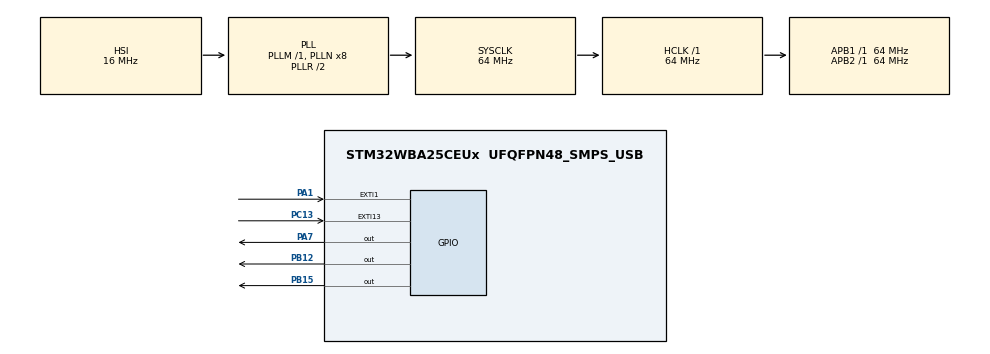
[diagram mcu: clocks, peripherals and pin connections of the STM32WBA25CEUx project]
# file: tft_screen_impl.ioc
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ADC4.Channel-0\#ChannelRegularConversion=ADC_CHANNEL_TEMPSENSOR
ADC4.NbrOfConversionFlag=1
ADC4.Rank-0\#ChannelRegularConversion=1
ADC4.SamplingTime-0\#ChannelRegularConversion=ADC_SAMPLINGTIME_COMMON_1
ADC4.SelectedChannel=ADC_CHANNEL_TEMPSENSOR|ADC_CHANNEL_VREFINT
CORTEX_M33_NS.userName=CORTEX_M33
Mcu.Family=STM32WBA
Mcu.Name=STM32WBA25CEUx
Mcu.Package=UFQFPN48_SMPS_USB
NUCLEO-WBA25CE1.BUTTON=1
NUCLEO-WBA25CE1.BUTTON2=1
NUCLEO-WBA25CE1.BUTTON3=1
NUCLEO-WBA25CE1.LD1=true
NUCLEO-WBA25CE1.LD2=true
NUCLEO-WBA25CE1.LD3=true
NUCLEO-WBA25CE1.VCP=true
NVIC.EXTI13_IRQn=true\:0\:0\:false\:false\:true\:false\:true\:true
NVIC.EXTI1_IRQn=true\:0\:0\:false\:false\:true\:false\:true\:true
NVIC.EXTI2_IRQn=true\:0\:0\:false\:false\:true\:false\:true\:true
NVIC.PriorityGroup=NVIC_PRIORITYGROUP_4
OSC_IN.Signal=RCC_OSC_IN
OSC_OUT.Signal=RCC_OSC_OUT
PA1.Signal=GPXTI1
PA10.GPIO_Speed=GPIO_SPEED_FREQ_HIGH
PA10.Signal=SPI3_MISO
PA11.GPIO_Pu=GPIO_PULLUP
PA11.GPIO_Speed=GPIO_SPEED_FREQ_HIGH
PA11.Signal=I2C3_SDA
PA12.Signal=USART1_RX
PA13\ (JTMS/SWDIO).GPIO_Label=SWDIO
PA13\ (JTMS/SWDIO).Signal=DEBUG_JTMS-SWDIO
PA14\ (JTCK/SWCLK).GPIO_Label=SWCLK
PA14\ (JTCK/SWCLK).Signal=DEBUG_JTCK-SWCLK
PA15\ (JTDI).GPIO_Label=QSPI_CLK
PA15\ (JTDI).Signal=XSPI1_CLK
PA2.Signal=XSPI1_NCS
PA5.GPIO_Speed=GPIO_SPEED_FREQ_HIGH
PA5.Signal=SPI3_NSS
PA6.Signal=USART1_TX
PA7.Signal=GPIO_Output
PA8.GPIO_Speed=GPIO_SPEED_FREQ_HIGH
PA8.Signal=SPI3_SCK
PA9.GPIO_Speed=GPIO_SPEED_FREQ_HIGH
PA9.Signal=SPI3_MOSI
PB12.Signal=GPIO_Output
PB15.Signal=GPIO_Output
PB2.GPIO_Pu=GPIO_PULLUP
PB2.GPIO_Speed=GPIO_SPEED_FREQ_HIGH
PB2.Signal=I2C3_SCL
PB3\ (JTDO/TRACESWO).GPIO_Label=QSPI_D0
PB3\ (JTDO/TRACESWO).Signal=XSPI1_IO0
PB4\ (NJTRST).GPIO_Label=QSPI_D1
PB4\ (NJTRST).Signal=XSPI1_IO1
PB5.GPIO_Label=QSPI_D2
PB5.Signal=XSPI1_IO2
PB6.GPIO_Label=QSPI_D3
PB6.Signal=XSPI1_IO3
PB8.Signal=USB_DP
PB9.Signal=USB_DM
PC13.Signal=GPXTI13
PC14-OSC32_IN.Signal=RCC_OSC32_IN
PC15-OSC32_OUT.Signal=RCC_OSC32_OUT
ProjectManager.HeapSize=0x200
ProjectManager.StackSize=0x2000
ProjectManager.TargetToolchain=STM32CubeIDE
RCC.ADCFreq_Value=64000000
RCC.AHB5CLKDivider=DIV2
RCC.AHBFreq_Value=64000000
RCC.APB1Freq_Value=64000000
RCC.APB1TimFreq_Value=64000000
RCC.APB2Freq_Value=64000000
RCC.APB2TimFreq_Value=64000000
RCC.CortexFreq_Value=8000000
RCC.HCLKFreq_Value=64000000
RCC.HSE_VALUE=16000000
RCC.HSI_VALUE=16000000
RCC.LSE_VALUE=32768
RCC.PLLFRACN=0
RCC.PLLN=8
RCC.SYSCLKFreq_VALUE=64000000
RCC.SYSCLKSourceVirtual=RCC_SYSCLKSOURCE_PLLCLK
RCC.VCOOutputFreq_Value=128000000
VP_ADC4_TempSens_Input.Mode=IN-TempSens
VP_ADC4_Vref_Input.Mode=IN-Vrefint
VP_CORTEX_M33_NS_VS_Hclk.Mode=Hclk_Mode
VP_ICACHE_VS_ICACHE.Mode=DirectMappedCache
VP_NUCLEO-WBA25CE1_VS_BSP_COMMON.Mode=COMMON
VP_PWR_VS_SECSignals.Mode=Security/Privilege
board=NUCLEO-WBA25CE1

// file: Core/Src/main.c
/* USER CODE BEGIN Header */
/**
  ******************************************************************************
  * @file           : main.c
  * @brief          : Main program body
  ******************************************************************************
  * @attention
  *
  * Copyright (c) 2026 STMicroelectronics.
  * All rights reserved.
  *
  * This software is licensed under terms that can be found in the LICENSE file
  * in the root directory of this software component.
  * If no LICENSE file comes with this software, it is provided AS-IS.
  *
  ******************************************************************************
  */
/* USER CODE END Header */
#include "main.h"

/* USER CODE BEGIN Includes */
#include "pin_finder.h"
#include "tft.h"
#include "lvgl.h"
#include "lvgl_port.h"
#include "input_port.h"
#include "sensors.h"
#include "ui.h"

/* USER CODE END Includes */

/* USER CODE BEGIN PD */
/* What the program runs:
 *   APP_PIN_FINDER  - find STM32 pins on the headers (shield removed)
 *   APP_COLOR_TEST  - simple colour fills with our own driver
 *   APP_LVGL        - LVGL user interface */
#define APP_PIN_FINDER  0
#define APP_COLOR_TEST  1
#define APP_LVGL        2
#define APP_MODE        APP_LVGL

/* USER CODE END PD */

COM_InitTypeDef BspCOMInit;
ADC_HandleTypeDef hadc4;

void SystemClock_Config(void);
static void MX_GPIO_Init(void);
static void MX_ADC4_Init(void);
static void MX_ICACHE_Init(void);

int main(void)
{

  /* MCU Configuration--------------------------------------------------------*/

  /* Reset of all peripherals, Initializes the Flash interface and the Systick. */
  HAL_Init();

  /* Configure the system clock */
  SystemClock_Config();

  /* Initialize all configured peripherals */
  MX_GPIO_Init();
  MX_ADC4_Init();
  MX_ICACHE_Init();

  /* Initialize leds */
  BSP_LED_Init(LED_BLUE);
  BSP_LED_Init(LED_GREEN);
  BSP_LED_Init(LED_RED);

  /* Initialize USER push-button, will be used to trigger an interrupt each time it's pressed.*/
  BSP_PB_Init(B1, BUTTON_MODE_EXTI);
  BSP_PB_Init(B2, BUTTON_MODE_EXTI);
  BSP_PB_Init(B3, BUTTON_MODE_EXTI);

  /* Initialize COM1 port (115200, 8 bits (7-bit data + 1 stop bit), no parity */
  BspCOMInit.BaudRate   = 115200;
  BspCOMInit.WordLength = COM_WORDLENGTH_8B;
  BspCOMInit.StopBits   = COM_STOPBITS_1;
  BspCOMInit.Parity     = COM_PARITY_NONE;
  BspCOMInit.HwFlowCtl  = COM_HWCONTROL_NONE;
  if (BSP_COM_Init(COM1, &BspCOMInit) != BSP_ERROR_NONE)
  {
    Error_Handler();
  }

  /* Infinite loop */
  /* USER CODE BEGIN WHILE */
#if APP_MODE == APP_PIN_FINDER
  finder_init();
#elif APP_MODE == APP_COLOR_TEST
  tft_init();
#else
  tft_init();
  lvgl_port_init();
  input_port_init();        /* button B1 -> LVGL */
  sensors_init();           /* ADC4: chip temperature + supply voltage, 1 s */
  ui_create();
#endif
  while (1)
  {

    /* USER CODE END WHILE */

    /* USER CODE BEGIN 3 */
#if APP_MODE == APP_PIN_FINDER
    finder_poll();
#elif APP_MODE == APP_LVGL
    lv_timer_handler();      /* LVGL: redraw what changed, run timers/animations */
    HAL_Delay(5);
#else
    tft_fill_screen(RED);   HAL_Delay(500);
    tft_fill_screen(GREEN); HAL_Delay(500);
    tft_fill_screen(BLUE);  HAL_Delay(500);
    tft_fill_screen(BLACK);
    tft_fill_rect(20, 20, 100, 60, YELLOW);
    tft_fill_rect(60, 120, 120, 120, CYAN);
    tft_fill_rect(0, 280, 240, 40, WHITE);
    HAL_Delay(2000);
#endif
  }
  /* USER CODE END 3 */
}

void SystemClock_Config(void)
{
  RCC_OscInitTypeDef RCC_OscInitStruct = {0};
  RCC_ClkInitTypeDef RCC_ClkInitStruct = {0};

  /** Supply configuration update enable
  */
  HAL_PWREx_ConfigSupply(PWR_LDO_SUPPLY);

  /** Configure the main internal regulator output voltage
  */
  if (HAL_PWREx_ControlVoltageScaling(PWR_REGULATOR_VOLTAGE_SCALE1) != HAL_OK)
  {
    Error_Handler();
  }

  /** Initializes the CPU, AHB and APB busses clocks
  */
  RCC_OscInitStruct.OscillatorType = RCC_OSCILLATORTYPE_HSI;
  RCC_OscInitStruct.HSIState = RCC_HSI_ON;
  RCC_OscInitStruct.HSICalibrationValue = RCC_HSICALIBRATION_DEFAULT;
  RCC_OscInitStruct.PLL1.PLLState = RCC_PLL_ON;
  RCC_OscInitStruct.PLL1.PLLSource = RCC_PLLSOURCE_HSI;
  RCC_OscInitStruct.PLL1.PLLM = 1;
  RCC_OscInitStruct.PLL1.PLLN = 8;
  RCC_OscInitStruct.PLL1.PLLP = 2;
  RCC_OscInitStruct.PLL1.PLLQ = 2;
  RCC_OscInitStruct.PLL1.PLLR = 2;
  RCC_OscInitStruct.PLL1.PLLFractional = 0;
  if (HAL_RCC_OscConfig(&RCC_OscInitStruct) != HAL_OK)
  {
    Error_Handler();
  }

  /** Initializes the CPU, AHB and APB busses clocks
  */
  RCC_ClkInitStruct.ClockType = RCC_CLOCKTYPE_HCLK|RCC_CLOCKTYPE_SYSCLK
                              |RCC_CLOCKTYPE_PCLK1|RCC_CLOCKTYPE_PCLK2
                              |RCC_CLOCKTYPE_PCLK7|RCC_CLOCKTYPE_HCLK5;
  RCC_ClkInitStruct.SYSCLKSource = RCC_SYSCLKSOURCE_PLLCLK;
  RCC_ClkInitStruct.AHBCLKDivider = RCC_SYSCLK_DIV1;
  RCC_ClkInitStruct.APB1CLKDivider = RCC_HCLK_DIV1;
  RCC_ClkInitStruct.APB2CLKDivider = RCC_HCLK_DIV1;
  RCC_ClkInitStruct.APB7CLKDivider = RCC_HCLK_DIV1;
  RCC_ClkInitStruct.AHB5_PLL1_CLKDivider = RCC_SYSCLK_PLL1_DIV2;
  RCC_ClkInitStruct.AHB5_HSEHSI_CLKDivider = RCC_SYSCLK_HSEHSI_DIV1;

  if (HAL_RCC_ClockConfig(&RCC_ClkInitStruct, FLASH_LATENCY_1) != HAL_OK)
  {
    Error_Handler();
  }
}

static void MX_ADC4_Init(void)
{

  ADC_ChannelConfTypeDef sConfig = {0};

  /** Common config
  */
  hadc4.Instance = ADC4;
  hadc4.Init.ClockPrescaler = ADC_CLOCK_ASYNC_DIV1;
  hadc4.Init.Resolution = ADC_RESOLUTION_12B;
  hadc4.Init.DataAlign = ADC_DATAALIGN_RIGHT;
  hadc4.Init.ScanConvMode = ADC_SCAN_DISABLE;
  hadc4.Init.EOCSelection = ADC_EOC_SINGLE_CONV;
  hadc4.Init.LowPowerAutoPowerOff = DISABLE;
  hadc4.Init.LowPowerAutonomousDPD = ADC_LP_AUTONOMOUS_DPD_DISABLE;
  hadc4.Init.LowPowerAutoWait = DISABLE;
  hadc4.Init.ContinuousConvMode = DISABLE;
  hadc4.Init.NbrOfConversion = 1;
  hadc4.Init.ExternalTrigConv = ADC_SOFTWARE_START;
  hadc4.Init.ExternalTrigConvEdge = ADC_EXTERNALTRIGCONVEDGE_NONE;
  hadc4.Init.DMAContinuousRequests = DISABLE;
  hadc4.Init.TriggerFrequencyMode = ADC_TRIGGER_FREQ_LOW;
  hadc4.Init.Overrun = ADC_OVR_DATA_PRESERVED;
  hadc4.Init.SamplingTimeCommon1 = ADC_SAMPLETIME_1CYCLE_5;
  hadc4.Init.SamplingTimeCommon2 = ADC_SAMPLETIME_1CYCLE_5;
  hadc4.Init.OversamplingMode = DISABLE;
  if (HAL_ADC_Init(&hadc4) != HAL_OK)
  {
    Error_Handler();
  }

  /** Configure Regular Channel
  */
  sConfig.Channel = ADC_CHANNEL_TEMPSENSOR;
  sConfig.Rank = ADC_REGULAR_RANK_1;
  sConfig.SamplingTime = ADC_SAMPLINGTIME_COMMON_1;
  if (HAL_ADC_ConfigChannel(&hadc4, &sConfig) != HAL_OK)
  {
    Error_Handler();
  }

}

static void MX_ICACHE_Init(void)
{

  /** Enable instruction cache in 1-way (direct mapped cache)
  */
  if (HAL_ICACHE_ConfigAssociativityMode(ICACHE_1WAY) != HAL_OK)
  {
    Error_Handler();
  }
  if (HAL_ICACHE_Enable() != HAL_OK)
  {
    Error_Handler();
  }

}

static void MX_GPIO_Init(void)
{
  GPIO_InitTypeDef GPIO_InitStruct = {0};

  /* GPIO Ports Clock Enable */
  __HAL_RCC_GPIOA_CLK_ENABLE();
  __HAL_RCC_GPIOB_CLK_ENABLE();
  __HAL_RCC_GPIOC_CLK_ENABLE();

  /*Configure GPIO pins : PA8 PA10 */
  GPIO_InitStruct.Pin = GPIO_PIN_8|GPIO_PIN_10;
  GPIO_InitStruct.Mode = GPIO_MODE_AF_PP;
  GPIO_InitStruct.Pull = GPIO_NOPULL;
  GPIO_InitStruct.Speed = GPIO_SPEED_FREQ_HIGH;
  GPIO_InitStruct.Alternate = GPIO_AF5_SPI3;
  HAL_GPIO_Init(GPIOA, &GPIO_InitStruct);

  /*Configure GPIO pin : PA5 */
  GPIO_InitStruct.Pin = GPIO_PIN_5;
  GPIO_InitStruct.Mode = GPIO_MODE_AF_PP;
  GPIO_InitStruct.Pull = GPIO_NOPULL;
  GPIO_InitStruct.Speed = GPIO_SPEED_FREQ_HIGH;
  GPIO_InitStruct.Alternate = GPIO_AF6_SPI3;
  HAL_GPIO_Init(GPIOA, &GPIO_InitStruct);

  /*Configure GPIO pins : PB9 PB8 */
  GPIO_InitStruct.Pin = GPIO_PIN_9|GPIO_PIN_8;
  GPIO_InitStruct.Mode = GPIO_MODE_AF_PP;
  GPIO_InitStruct.Pull = GPIO_NOPULL;
  GPIO_InitStruct.Speed = GPIO_SPEED_FREQ_LOW;
  HAL_GPIO_Init(GPIOB, &GPIO_InitStruct);

  /*Configure GPIO pins : QSPI_D3_Pin QSPI_D2_Pin */
  GPIO_InitStruct.Pin = QSPI_D3_Pin|QSPI_D2_Pin;
  GPIO_InitStruct.Mode = GPIO_MODE_AF_PP;
  GPIO_InitStruct.Pull = GPIO_NOPULL;
  GPIO_InitStruct.Speed = GPIO_SPEED_FREQ_HIGH;
  GPIO_InitStruct.Alternate = GPIO_AF10_XSPI1;
  HAL_GPIO_Init(GPIOB, &GPIO_InitStruct);

  /*Configure GPIO pin : QSPI_D1_Pin */
  GPIO_InitStruct.Pin = QSPI_D1_Pin;
  GPIO_InitStruct.Mode = GPIO_MODE_AF_PP;
  GPIO_InitStruct.Pull = GPIO_NOPULL;
  GPIO_InitStruct.Speed = GPIO_SPEED_FREQ_HIGH;
  GPIO_InitStruct.Alternate = GPIO_AF11_XSPI1;
  HAL_GPIO_Init(QSPI_D1_GPIO_Port, &GPIO_InitStruct);

  /*Configure GPIO pin : QSPI_D0_Pin */
  GPIO_InitStruct.Pin = QSPI_D0_Pin;
  GPIO_InitStruct.Mode = GPIO_MODE_AF_PP;
  GPIO_InitStruct.Pull = GPIO_NOPULL;
  GPIO_InitStruct.Speed = GPIO_SPEED_FREQ_HIGH;
  GPIO_InitStruct.Alternate = GPIO_AF13_XSPI1;
  HAL_GPIO_Init(QSPI_D0_GPIO_Port, &GPIO_InitStruct);

  /*Configure GPIO pin : QSPI_CLK_Pin */
  GPIO_InitStruct.Pin = QSPI_CLK_Pin;
  GPIO_InitStruct.Mode = GPIO_MODE_AF_PP;
  GPIO_InitStruct.Pull = GPIO_NOPULL;
  GPIO_InitStruct.Speed = GPIO_SPEED_FREQ_HIGH;
  GPIO_InitStruct.Alternate = GPIO_AF13_XSPI1;
  HAL_GPIO_Init(QSPI_CLK_GPIO_Port, &GPIO_InitStruct);

  /*Configure GPIO pin : PA11 */
  GPIO_InitStruct.Pin = GPIO_PIN_11;
  GPIO_InitStruct.Mode = GPIO_MODE_AF_OD;
  GPIO_InitStruct.Pull = GPIO_PULLUP;
  GPIO_InitStruct.Speed = GPIO_SPEED_FREQ_HIGH;
  GPIO_InitStruct.Alternate = GPIO_AF6_I2C3;
  HAL_GPIO_Init(GPIOA, &GPIO_InitStruct);

  /*Configure GPIO pin : PB2 */
  GPIO_InitStruct.Pin = GPIO_PIN_2;
  GPIO_InitStruct.Mode = GPIO_MODE_AF_OD;
  GPIO_InitStruct.Pull = GPIO_PULLUP;
  GPIO_InitStruct.Speed = GPIO_SPEED_FREQ_HIGH;
  GPIO_InitStruct.Alternate = GPIO_AF6_I2C3;
  HAL_GPIO_Init(GPIOB, &GPIO_InitStruct);

  /*Configure GPIO pin : PA9 */
  GPIO_InitStruct.Pin = GPIO_PIN_9;
  GPIO_InitStruct.Mode = GPIO_MODE_AF_PP;
  GPIO_InitStruct.Pull = GPIO_NOPULL;
  GPIO_InitStruct.Speed = GPIO_SPEED_FREQ_HIGH;
  GPIO_InitStruct.Alternate = GPIO_AF4_SPI3;
  HAL_GPIO_Init(GPIOA, &GPIO_InitStruct);

}

void Error_Handler(void)
{
  __disable_irq();
  while (1)
  {
  }
}
